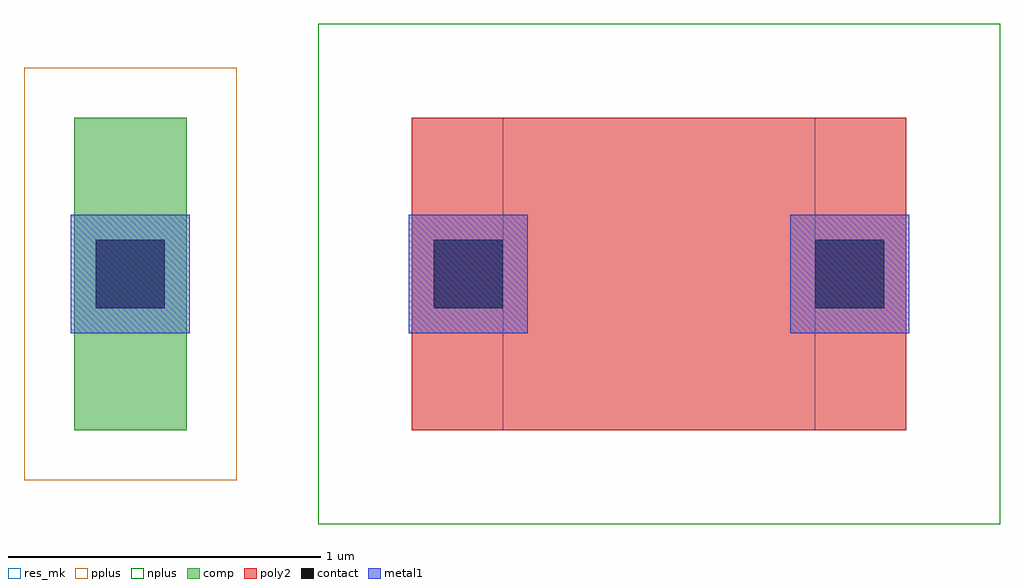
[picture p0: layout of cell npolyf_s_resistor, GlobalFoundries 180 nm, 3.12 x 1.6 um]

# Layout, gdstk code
import gdstk
lib = gdstk.Library(unit=1e-6, precision=1e-09)
def R(c, l, rs):  # rectangles x0, y0, x1, y1
    for r in rs: c.add(gdstk.rectangle(r[:2], r[2:], *l))
comp = (22, 0)
poly2 = (30, 0)
pplus = (31, 0)
nplus = (32, 0)
contact = (33, 0)
metal1 = (34, 0)
res_mk = (110, 5)

npolyf_s_resistor = lib.new_cell('npolyf_s_resistor')
R(npolyf_s_resistor, comp, [(-1.37,0,-1.01,1)])
R(npolyf_s_resistor, poly2, [(-0.29,0,1.29,1)])
R(npolyf_s_resistor, pplus, [(-1.53,-0.16,-0.85,1.16)])
R(npolyf_s_resistor, nplus, [(-0.59,-0.3,1.59,1.3)])
R(npolyf_s_resistor, contact, [(-1.3,0.39,-1.08,0.61), (-0.22,0.39,0,0.61), (1,0.39,1.22,0.61)])
R(npolyf_s_resistor, metal1, [(-1.38,0.31,-1,0.69), (-0.3,0.31,0.08,0.69), (0.92,0.31,1.3,0.69)])
R(npolyf_s_resistor, res_mk, [(0,0,1,1)])

lib.write_gds('npolyf_s_resistor.gds')
